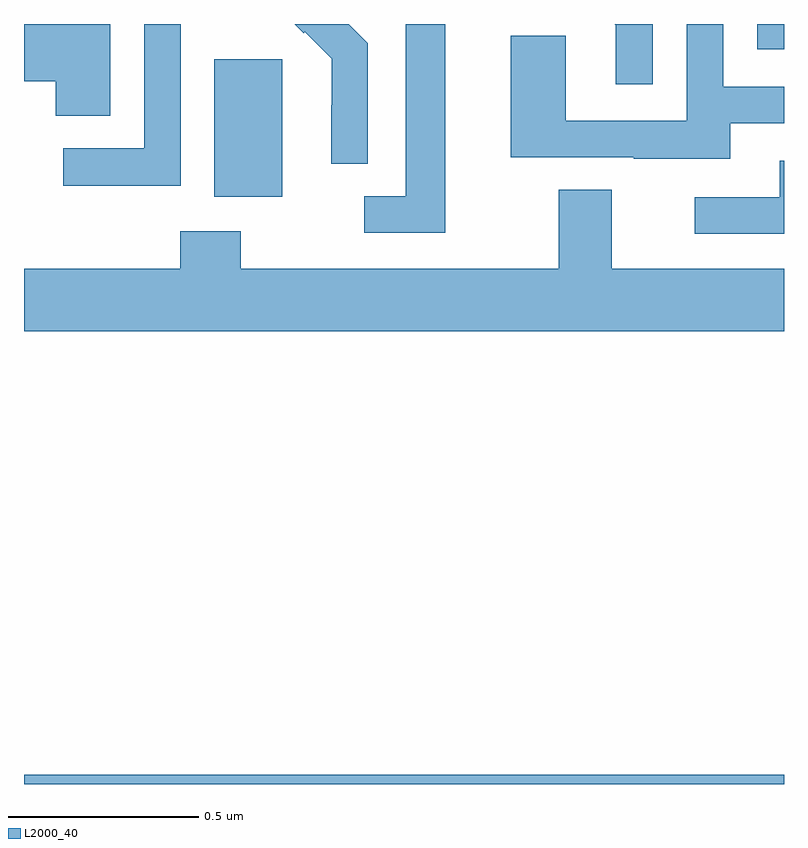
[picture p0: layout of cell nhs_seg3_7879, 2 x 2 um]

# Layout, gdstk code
import gdstk
lib = gdstk.Library(unit=1e-6, precision=1e-09)
def R(c, l, rs):  # rectangles x0, y0, x1, y1
    for r in rs: c.add(gdstk.rectangle(r[:2], r[2:], *l))
def P(c, l, *ps):  # polygons
    for p in ps: c.add(gdstk.Polygon(p, *l))
L2000_40 = (2000, 40)

nhs_seg3_7879 = lib.new_cell('nhs_seg3_7879')
R(nhs_seg3_7879, L2000_40, [(209,690.4,211,690.424), (209.501,691.946,209.68,692.307), (210.93,692.334,211,692.4)])
P(nhs_seg3_7879, L2000_40, [(209.412,692.4),(209.316,692.4),(209.316,692.073),(209.103,692.073),(209.103,691.975),(209.412,691.975)],
  [(209.904,692.35),(209.854,692.4),(209.712,692.4),(209.736,692.376),(209.739,692.379),(209.81,692.309),(209.81,692.186),(209.808,692.186),(209.808,692.032),(209.904,692.032)],
  [(210.859,692.139),(211,692.139),(211,692.235),(210.84,692.235),(210.84,692.4),(210.744,692.4),(210.744,692.145),(210.426,692.145),(210.426,692.369),(210.281,692.369),(210.281,692.049),(210.605,692.049),(210.605,692.045),(210.859,692.045)],
  [(210.109,692.4),(210.005,692.4),(210.005,691.947),(209.895,691.947),(209.895,691.851),(210.109,691.851)],
  [(210.654,692.4),(210.554,692.4),(210.557,692.397),(210.557,692.241),(210.654,692.241)],
  [(209.227,692.4),(209,692.4),(209,692.249),(209.084,692.249),(209.084,692.158),(209.227,692.158)],
  [(211,692.04),(210.989,692.04),(210.989,691.944),(210.765,691.944),(210.765,691.848),(211,691.848)],
  [(211,691.756),(210.547,691.756),(210.547,691.964),(210.407,691.964),(210.407,691.756),(209.571,691.756),(209.571,691.855),(209.411,691.855),(209.411,691.756),(209,691.756),(209,691.592),(211,691.592)])

lib.write_gds('nhs_seg3_7879.gds')
